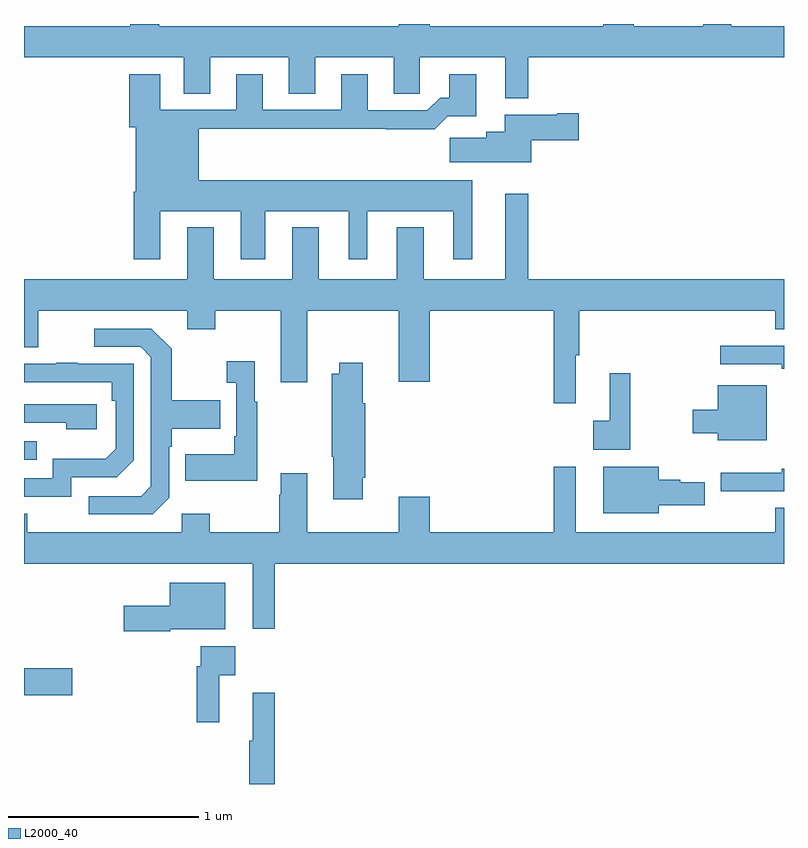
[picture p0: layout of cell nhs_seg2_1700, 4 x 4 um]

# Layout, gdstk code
import gdstk
lib = gdstk.Library(unit=1e-6, precision=1e-09)
def R(c, l, rs):  # rectangles x0, y0, x1, y1
    for r in rs: c.add(gdstk.rectangle(r[:2], r[2:], *l))
def P(c, l, *ps):  # polygons
    for p in ps: c.add(gdstk.Polygon(p, *l))
L2000_40 = (2000, 40)

nhs_seg2_1700 = lib.new_cell('nhs_seg2_1700')
R(nhs_seg2_1700, L2000_40, [(199,656.266,199.255,656.408), (199,657.507,199.067,657.603)])
P(nhs_seg2_1700, L2000_40, [(201.655,659.624),(203,659.624),(203,659.788),(202.722,659.788),(202.722,659.8),(202.576,659.8),(202.576,659.788),(202.209,659.788),(202.209,659.8),(202.049,659.8),(202.049,659.788),(201.136,659.788),(201.136,659.8),(200.972,659.8),(200.972,659.788),(199.712,659.788),(199.712,659.8),(199.559,659.8),(199.559,659.788),(199,659.788),(199,659.624),(199.841,659.624),(199.841,659.434),(199.981,659.434),(199.981,659.624),(200.393,659.624),(200.393,659.434),(200.533,659.434),(200.533,659.624),(200.945,659.624),(200.945,659.434),(201.084,659.434),(201.084,659.624),(201.533,659.624),(201.533,659.408),(201.655,659.408)],
  [(199.717,658.814),(200.141,658.814),(200.141,658.563),(200.269,658.563),(200.269,658.814),(200.708,658.814),(200.708,658.563),(200.806,658.563),(200.806,658.814),(201.26,658.814),(201.26,658.563),(201.358,658.563),(201.358,658.978),(199.921,658.978),(199.921,659.248),(200.905,659.248),(200.905,659.246),(201.161,659.246),(201.23,659.315),(201.379,659.315),(201.379,659.536),(201.239,659.536),(201.239,659.413),(201.19,659.413),(201.123,659.346),(200.809,659.346),(200.809,659.536),(200.669,659.536),(200.669,659.349),(200.257,659.349),(200.257,659.536),(200.117,659.536),(200.117,659.349),(199.717,659.349),(199.717,659.536),(199.553,659.536),(199.553,659.256),(199.589,659.256),(199.589,658.918),(199.577,658.918),(199.577,658.563),(199.717,658.563)],
  [(201.67,659.189),(201.919,659.189),(201.919,659.331),(201.806,659.331),(201.806,659.323),(201.53,659.323),(201.53,659.233),(201.434,659.233),(201.434,659.201),(201.24,659.201),(201.24,659.072),(201.67,659.072)],
  [(201.905,658.056),(201.923,658.056),(201.923,658.292),(202.955,658.292),(202.955,658.194),(203,658.194),(203,658.456),(201.655,658.456),(201.655,658.906),(201.533,658.906),(201.533,658.456),(201.103,658.456),(201.103,658.729),(200.963,658.729),(200.963,658.456),(200.551,658.456),(200.551,658.729),(200.411,658.729),(200.411,658.456),(199.999,658.456),(199.999,658.729),(199.859,658.729),(199.859,658.456),(199,658.456),(199,658.098),(199.075,658.098),(199.075,658.292),(199.859,658.292),(199.859,658.193),(200.007,658.193),(200.007,658.292),(200.351,658.292),(200.351,657.915),(200.491,657.915),(200.491,658.292),(200.972,658.292),(200.972,657.918),(201.136,657.918),(201.136,658.292),(201.787,658.292),(201.787,657.804),(201.905,657.804)],
  [(199.764,657.306),(199.764,657.575),(199.777,657.575),(199.777,657.671),(200.033,657.671),(200.033,657.819),(199.777,657.819),(199.777,658.091),(199.671,658.197),(199.371,658.197),(199.371,658.101),(199.614,658.101),(199.668,658.047),(199.668,657.366),(199.617,657.315),(199.341,657.315),(199.341,657.219),(199.677,657.219)],
  [(203,658.106),(202.665,658.106),(202.665,658.008),(202.988,658.008),(202.988,657.986),(203,657.986)],
  [(200.227,657.811),(200.215,657.811),(200.215,658.024),(200.067,658.024),(200.067,657.911),(200.118,657.911),(200.118,657.631),(200.106,657.631),(200.106,657.535),(199.849,657.535),(199.849,657.395),(200.227,657.395)],
  [(200.782,657.412),(200.795,657.412),(200.795,657.805),(200.782,657.805),(200.782,658.018),(200.66,658.018),(200.66,657.958),(200.62,657.958),(200.62,657.523),(200.627,657.523),(200.627,657.3),(200.782,657.3)],
  [(199.248,657.414),(199.488,657.414),(199.578,657.504),(199.578,658.011),(199.283,658.011),(199.283,658.016),(199.171,658.016),(199.171,658.011),(199,658.011),(199,657.915),(199.462,657.915),(199.462,657.818),(199.482,657.818),(199.482,657.564),(199.429,657.511),(199.152,657.511),(199.152,657.408),(199,657.408),(199,657.312),(199.248,657.312)],
  [(202.192,657.961),(202.082,657.961),(202.082,657.713),(201.996,657.713),(201.996,657.56),(202.192,657.56)],
  [(202.909,657.898),(202.652,657.898),(202.652,657.769),(202.521,657.769),(202.521,657.647),(202.652,657.647),(202.652,657.608),(202.909,657.608)],
  [(199.384,657.798),(199,657.798),(199,657.702),(199.223,657.702),(199.223,657.668),(199.384,657.668)],
  [(202.342,657.266),(202.582,657.266),(202.582,657.388),(202.455,657.388),(202.455,657.401),(202.342,657.401),(202.342,657.469),(202.049,657.469),(202.049,657.224),(202.342,657.224)],
  [(200.321,656.96),(203,656.96),(203,657.253),(202.955,657.253),(202.955,657.124),(201.904,657.124),(201.904,657.469),(201.787,657.469),(201.787,657.124),(201.136,657.124),(201.136,657.313),(200.972,657.313),(200.972,657.124),(200.491,657.124),(200.491,657.436),(200.351,657.436),(200.351,657.323),(200.344,657.323),(200.344,657.124),(199.977,657.124),(199.977,657.223),(199.83,657.223),(199.83,657.124),(199.017,657.124),(199.017,657.223),(199,657.223),(199,656.96),(200.204,656.96),(200.204,656.616),(200.321,656.616)],
  [(203,657.458),(202.988,657.458),(202.988,657.439),(202.667,657.439),(202.667,657.342),(203,657.342)],
  [(199.77,656.615),(200.059,656.615),(200.059,656.86),(199.766,656.86),(199.766,656.737),(199.524,656.737),(199.524,656.603),(199.77,656.603)],
  [(200.027,656.372),(200.113,656.372),(200.113,656.524),(199.929,656.524),(199.929,656.42),(199.909,656.42),(199.909,656.124),(200.027,656.124)],
  [(200.321,656.281),(200.204,656.281),(200.204,656.028),(200.185,656.028),(200.185,655.8),(200.321,655.8)])

lib.write_gds('nhs_seg2_1700.gds')
